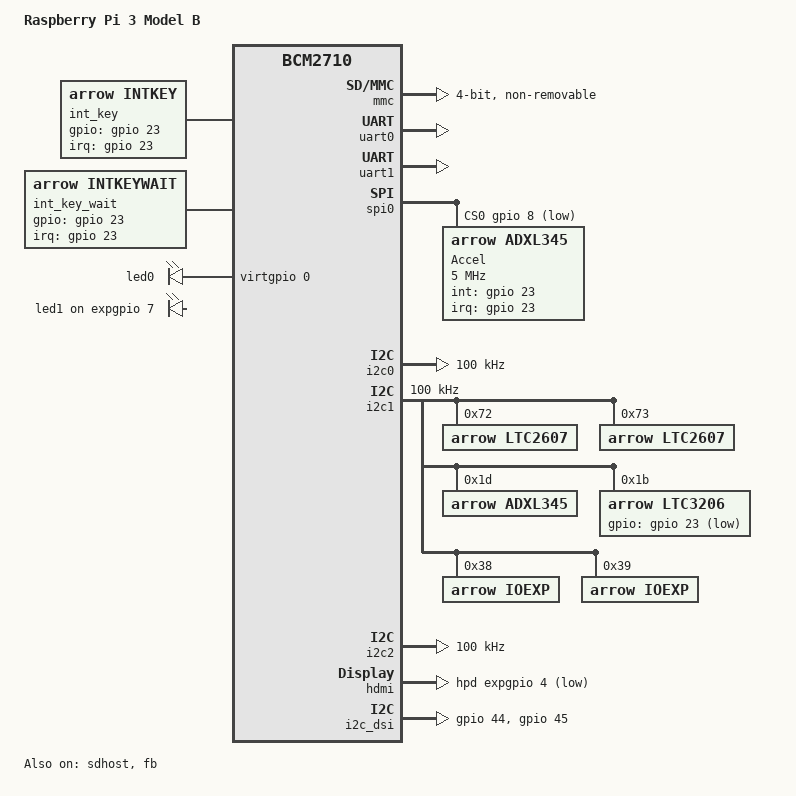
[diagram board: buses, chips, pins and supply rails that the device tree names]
/dts-v1/;

#include "bcm2710.dtsi"
#include "bcm283x-rpi-smsc9514.dtsi"

/ {
	model = "Raspberry Pi 3 Model B";
};

&gpio {
	sdhost_pins: sdhost_pins {
		brcm,pins = <48 49 50 51 52 53>;
		brcm,function = <4>; /* alt0 */
	};

	spi0_pins: spi0_pins {
		brcm,pins = <9 10 11>;
		brcm,function = <4>; /* alt0 */
	};

	spi0_cs_pins: spi0_cs_pins {
		brcm,pins = <8 7>;
		brcm,function = <1>; /* output */
	};

	i2c0_pins: i2c0 {
		brcm,pins = <0 1>;
		brcm,function = <4>;
	};

	i2c1_pins: i2c1 {
		brcm,pins = <2 3>;
		brcm,function = <4>;	
	};

	i2s_pins: i2s {
		brcm,pins = <18 19 20 21>;
		brcm,function = <4>; /* alt0 */
	};

	sdio_pins: sdio_pins {
		brcm,pins =     <34 35 36 37 38 39>;
		brcm,function = <7>; // alt3 = SD1
		brcm,pull =     <0 2 2 2 2 2>;
	};

	bt_pins: bt_pins {
		brcm,pins = <43>;
		brcm,function = <4>; /* alt0:GPCLK2 */
		brcm,pull = <0>;
	};

	uart0_pins: uart0_pins {
		brcm,pins = <32 33>;
		brcm,function = <7>; /* alt3=UART0 */
		brcm,pull = <0 2>;
	};

	uart1_pins: uart1_pins {
		brcm,pins;
		brcm,function;
		brcm,pull;
	};

	audio_pins: audio_pins {
		brcm,pins = <40 41>;
		brcm,function = <4>;
	};
	
	key_pin: key_pin {
		brcm,pins = <23>;
		brcm,function = <0>;	
		brcm,pull = <1>; 	
	};

	cs_pins: cs_pins {
		brcm,pins = <23>;
		brcm,function = <1>;	/* Output */
		brcm,pull = <0>; 	/* none */
	};
					
	
	key_pins: key_pins {
		brcm,pins = <23 24>;
		brcm,function = <0>;	
		brcm,pull = <1 1>; 	
	};
	
	accel_int_pin: accel_int_pin {
		brcm,pins = <23>;
		brcm,function = <0>;	/* Input */
		brcm,pull = <0>; 	/* none */
	};

	led_pins: led_pins {
		brcm,pins = <27 22 26>;
		brcm,function = <1>;	/* Output */
		brcm,pull = <1 1 1>;	/* Pull down */
	};
		
};

&sdhost {
	pinctrl-names = "default";
	pinctrl-0 = <&sdhost_pins>;
	bus-width = <4>;
	status = "okay";
};

&mmc {
	pinctrl-names = "default";
	pinctrl-0 = <&sdio_pins>;
	non-removable;
	bus-width = <4>;
	status = "okay";
	brcm,overclock-50 = <0>;
};

&soc {
	virtgpio: virtgpio {
		compatible = "brcm,bcm2835-virtgpio";
		gpio-controller;
		#gpio-cells = <2>;
		firmware = <&firmware>;
		status = "okay";
	};

	expgpio: expgpio {
		compatible = "brcm,bcm2835-expgpio";
		gpio-controller;
		#gpio-cells = <2>;
		firmware = <&firmware>;
		status = "okay";
	};

	hellokeys {
		compatible = "arrow,hellokeys";
	};

	linked_memory {
		compatible = "arrow,memory";
	};

	sdma_m2m {
		compatible = "arrow,sdma_m2m";

	};

	int_key {
		compatible = "arrow,intkey";

		pinctrl-names = "default";
		pinctrl-0 = <&key_pin>;
		gpios = <&gpio 23 0>;
		interrupts = <23 1>; 
		interrupt-parent = <&gpio>;
	};

	int_key_wait {
		compatible = "arrow,intkeywait";
		pinctrl-names = "default";
		pinctrl-0 = <&key_pin>;
		gpios = <&gpio 23 0>;
		interrupts = <23 1>; 
		interrupt-parent = <&gpio>;
	};

	ledredblink {
		compatible = "arrow,ledred";
		pinctrl-0 = <&led_pins>;
	};

	ledred {
		compatible = "arrow,RGBleds";
		label = "ledred";
		pinctrl-0 = <&led_pins>;
	};

	ledgreen {
		compatible = "arrow,RGBleds";
		label = "ledgreen";
	};

	ledblue {
		compatible = "arrow,RGBleds";
		label = "ledblue";
	};

	UIO {
		compatible = "arrow,UIO";
		reg = <0x7e200000 0x1000>;	
		pinctrl-names = "default";
		pinctrl-0 = <&led_pins>;
	};

	ledclassRGB {
		compatible = "arrow,RGBclassleds";
		reg = <0x7e200000 0xb4>;
		pinctrl-names = "default";
		pinctrl-0 = <&led_pins>;

		red {
			label = "red";
		};

		green {
			label = "green";
		};

		blue {
			label = "blue";
			linux,default-trigger = "heartbeat";
		};
	};

	ledpwm {
		compatible = "arrow,ledpwm";

		pinctrl-names = "default";
		pinctrl-0 = <&key_pins &led_pins>;

		bp1 {
			label = "MIKROBUS_KEY_1";
			gpios = <&gpio 23 GPIO_ACTIVE_LOW>;
			trigger = "falling";
		};
		
		bp2 {
			label = "MIKROBUS_KEY_2";
			gpios = <&gpio 24 GPIO_ACTIVE_LOW>;
			trigger = "falling";
		};

		ledred {
			label = "led";
			colour = "red";
			gpios = <&gpio 27 GPIO_ACTIVE_LOW>;
		};
		
		ledgreen {
			label = "led";
			colour = "green";
			gpios = <&gpio 22 GPIO_ACTIVE_LOW>;
		};

		ledblue {
			label = "led";
			colour = "blue";
			gpios = <&gpio 26 GPIO_ACTIVE_LOW>;
		};

	
	};



};

&fb {
	status = "okay";
};

&uart0 {
	pinctrl-names = "default";
	pinctrl-0 = <&uart0_pins &bt_pins>;
	status = "okay";
};

&uart1 {
	pinctrl-names = "default";
	pinctrl-0 = <&uart1_pins>;
	status = "okay";
};

&spi0 {
	pinctrl-names = "default";
	pinctrl-0 = <&spi0_pins &spi0_cs_pins>;
	cs-gpios = <&gpio 8 1>, <&gpio 7 1>;
	
	/* CE0 */
	/*spidev0: spidev@0{
		compatible = "spidev";
		reg = <0>;	
		#address-cells = <1>;
		#size-cells = <0>;
		spi-max-frequency = <500000>;
	};*/
	
	/* CE1 */
	/*spidev1: spidev@1{
		compatible = "spidev";
		reg = <1>;	
		#address-cells = <1>;
		#size-cells = <0>;
		spi-max-frequency = <500000>;
	};*/

	/*ADC: ltc2422@0 {
			compatible = "arrow,ltc2422";
			spi-max-frequency = <2000000>;
			reg = <0>;
			pinctrl-0 = <&key_pin>;
			int-gpios = <&gpio 23 0>;
	};*/

	Accel: ADXL345@0 {
			compatible = "arrow,adxl345";
			spi-max-frequency = <5000000>;
			spi-cpol;
			spi-cpha;
			reg = <0>;
			pinctrl-0 = <&accel_int_pin>;
			int-gpios = <&gpio 23 0>;
			interrupts = <23 1>; 
			interrupt-parent = <&gpio>;
	};
};

&i2c0 {
	pinctrl-names = "default";
	pinctrl-0 = <&i2c0_pins>;
	clock-frequency = <100000>;
};

&i2c1 {
	pinctrl-names = "default";
	pinctrl-0 = <&i2c1_pins>;
	clock-frequency = <100000>;
	status = "okay";

	ltc2607@72 {
		compatible = "arrow,ltc2607";
		reg = <0x72>;
	};
	ltc2607@73 {
		compatible = "arrow,ltc2607";
		reg = <0x73>;
	};

	adxl345@1c {
		compatible = "arrow,adxl345";
		reg = <0x1d>;
	};

	ltc3206: ltc3206@1b {
		compatible = "arrow,ltc3206";
		reg = <0x1b>;
		pinctrl-0 = <&cs_pins>;
		gpios = <&gpio 23 GPIO_ACTIVE_LOW>;
					
		led1r {
			label = "red";
		};

		led1b {
			label = "blue";
		};
					
		led1g {
			label = "green";
		};
					
		ledmain {
			label = "main";
		};
					
		ledsub {
			label = "sub";
		};
	};

	ioexp@38 {
		 compatible = "arrow,ioexp";
		 reg = <0x38>;
	};

	ioexp@39 {
		 compatible = "arrow,ioexp";
		 reg = <0x39>;
	};	
};


&i2c2 {
	clock-frequency = <100000>;
};

&i2s {
	pinctrl-names = "default";
	pinctrl-0 = <&i2s_pins>;
};

&leds {
	act_led: act {
		label = "led0";
		linux,default-trigger = "mmc0";
		gpios = <&virtgpio 0 0>;
	};

	pwr_led: pwr {
		label = "led1";
		linux,default-trigger = "input";
		gpios = <&expgpio 7 0>;
	};
};

&hdmi {
	hpd-gpios = <&expgpio 4 GPIO_ACTIVE_LOW>;
};

&audio {
	pinctrl-names = "default";
	pinctrl-0 = <&audio_pins>;
};

/ {
	chosen {
		bootargs = "8250.nr_uarts=1";
	};
};

/ {
	__overrides__ {
		uart0 = <&uart0>,"status";
		uart1 = <&uart1>,"status";
		i2s = <&i2s>,"status";
		spi = <&spi0>,"status";
		i2c0 = <&i2c0>,"status";
		i2c1 = <&i2c1>,"status";
		i2c2_iknowwhatimdoing = <&i2c2>,"status";
		i2c0_baudrate = <&i2c0>,"clock-frequency:0";
		i2c1_baudrate = <&i2c1>,"clock-frequency:0";
		i2c2_baudrate = <&i2c2>,"clock-frequency:0";

		act_led_gpio = <&act_led>,"gpios:4";
		act_led_activelow = <&act_led>,"gpios:8";
		act_led_trigger = <&act_led>,"linux,default-trigger";

		pwr_led_gpio = <&pwr_led>,"gpios:4";
		pwr_led_activelow = <&pwr_led>,"gpios:8";
		pwr_led_trigger = <&pwr_led>,"linux,default-trigger";

		audio = <&audio>,"status";
		watchdog = <&watchdog>,"status";
		random = <&random>,"status";
		sd_overclock = <&sdhost>,"brcm,overclock-50:0";
		sd_force_pio = <&sdhost>,"brcm,force-pio?";
		sd_pio_limit = <&sdhost>,"brcm,pio-limit:0";
		sd_debug     = <&sdhost>,"brcm,debug";
	};
};

&i2c_dsi {
	gpios = <&gpio 44 0
		 &gpio 45 0>;
};
